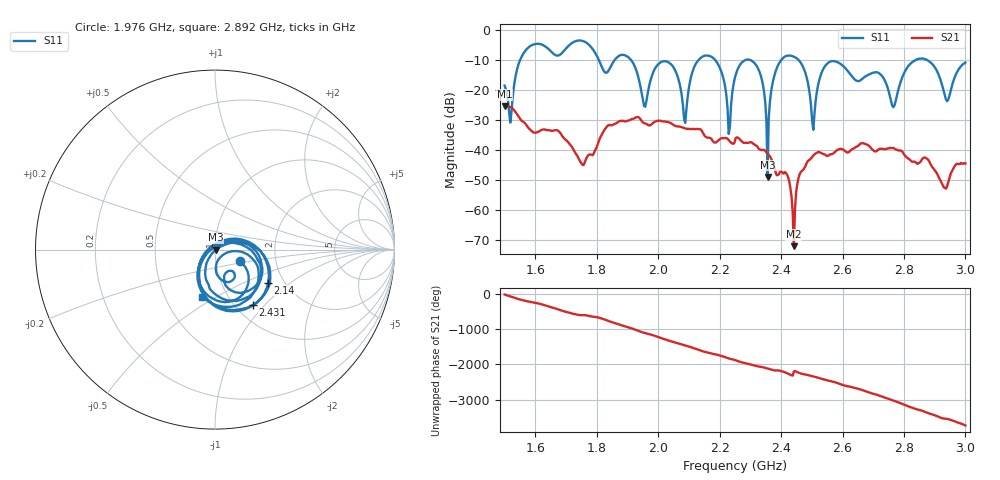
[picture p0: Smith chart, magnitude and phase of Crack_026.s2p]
# HZ S RI R 50
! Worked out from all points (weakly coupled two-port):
!   404 points, 1.5 GHz to 3 GHz, reference 50 ohm
!   highest |S21| = -25.49 dB at 1.5 GHz (marker M1); lowest = -72.2 dB at 2.442 GHz (marker M2)
!   lowest |S11| = -49.1 dB at 2.356 GHz (marker M3), VSWR 1.01, Z = 50.3 - j0.128 ohm
!   |S11| at or under -10 dB: 1.911 GHz to 2.131 GHz (220 MHz wide, 10.9 % of centre); 2.457 GHz to 2.838 GHz (381.4 MHz wide, 14.4 % of centre); 2.875 GHz to end of sweep (the widest 3 of 7)
!   S12 and S22 are empty: the file has one direction only
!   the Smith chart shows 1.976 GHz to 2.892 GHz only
!   S11 on the Smith chart (normalised r, x): 1.976 GHz: 1.31, -0.17; 2.14 GHz: 1.66, -0.70; 2.431 GHz: 1.20, -0.86; 2.892 GHz: 0.76, -0.43
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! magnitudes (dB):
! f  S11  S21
! 1.5 GHz  -18.6  -25.5
! 1.519 GHz  -30.9  -25.7
! 1.586 GHz  -5.2  -33.5
! 1.753 GHz  -3.6  -44.9
! 1.976 GHz  -16.3  -31.7
! 2.002 GHz  -11.2  -30.2
! 2.088 GHz  -31.0  -32.9
! 2.14 GHz  -9.2  -33.3
! 2.196 GHz  -11.6  -36.8
! 2.23 GHz  -34.7  -36.7
! 2.252 GHz  -15.1  -36.1
! 2.319 GHz  -11.7  -38.6
! 2.356 GHz  -49.1  -41.4
! 2.382 GHz  -13.8  -47.5
! 2.431 GHz  -8.6  -52.9
! 2.442 GHz  -8.9  -72.2
! 2.501 GHz  -30.3  -42.5
! 2.565 GHz  -10.4  -41.5
! 2.751 GHz  -20.6  -39.5
! 2.892 GHz  -11.3  -45.8
! 2.94 GHz  -23.7  -52.2
! 3 GHz  -10.9  -44.6
